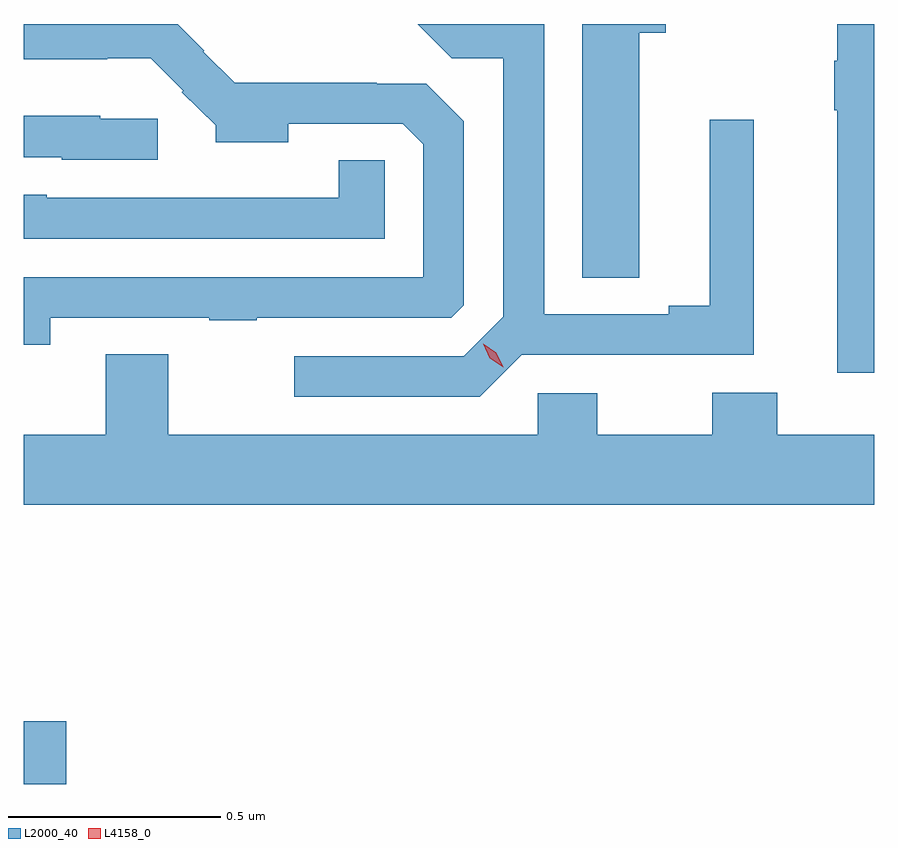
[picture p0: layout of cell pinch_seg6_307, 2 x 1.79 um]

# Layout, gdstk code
import gdstk
lib = gdstk.Library(unit=1e-6, precision=1e-09)
def R(c, l, rs):  # rectangles x0, y0, x1, y1
    for r in rs: c.add(gdstk.rectangle(r[:2], r[2:], *l))
def P(c, l, *ps):  # polygons
    for p in ps: c.add(gdstk.Polygon(p, *l))
L2000_40 = (2000, 40)
L4158_0 = (4158, 0)

pinch_seg6_307 = lib.new_cell('pinch_seg6_307')
R(pinch_seg6_307, L2000_40, [(790.785,969.323,790.885,969.47)])
P(pinch_seg6_307, L2000_40, [(791.956,970.332),(792.502,970.332),(792.502,970.885),(792.398,970.885),(792.398,970.448),(792.302,970.448),(792.302,970.428),(792.009,970.428),(792.009,971.11),(791.711,971.11),(791.792,971.029),(791.913,971.029),(791.913,970.422),(791.82,970.329),(791.421,970.329),(791.421,970.233),(791.857,970.233)],
  [(792.232,971.089),(792.295,971.089),(792.295,971.11),(792.098,971.11),(792.098,970.513),(792.232,970.513)],
  [(792.785,971.11),(792.698,971.11),(792.698,971.024),(792.691,971.024),(792.691,970.907),(792.698,970.907),(792.698,970.29),(792.785,970.29)],
  [(790.848,970.419),(791.221,970.419),(791.221,970.414),(791.333,970.414),(791.333,970.419),(791.79,970.419),(791.82,970.449),(791.82,970.881),(791.731,970.97),(791.615,970.97),(791.615,970.972),(791.281,970.972),(791.207,971.045),(791.209,971.047),(791.147,971.11),(790.785,971.11),(790.785,971.027),(790.982,971.027),(790.982,971.03),(791.084,971.03),(791.16,970.953),(791.157,970.95),(791.236,970.872),(791.236,970.832),(791.407,970.832),(791.407,970.875),(791.676,970.875),(791.724,970.827),(791.724,970.515),(790.785,970.515),(790.785,970.356),(790.848,970.356)],
  [(791.1,970.887),(790.965,970.887),(790.965,970.894),(790.785,970.894),(790.785,970.797),(790.875,970.797),(790.875,970.791),(791.1,970.791)],
  [(791.634,970.79),(791.526,970.79),(791.526,970.702),(791.271,970.702),(791.271,970.701),(790.839,970.701),(790.839,970.708),(790.785,970.708),(790.785,970.605),(791.634,970.605)],
  [(792.785,970.144),(792.557,970.144),(792.557,970.243),(792.404,970.243),(792.404,970.144),(792.133,970.144),(792.133,970.242),(791.994,970.242),(791.994,970.144),(791.125,970.144),(791.125,970.334),(790.978,970.334),(790.978,970.144),(790.785,970.144),(790.785,969.98),(792.785,969.98)])
P(pinch_seg6_307, L4158_0, [(791.912,970.303),(791.881,970.324),(791.865,970.358),(791.865,970.358),(791.865,970.358),(791.896,970.337),(791.912,970.303),(791.912,970.303)])

lib.write_gds('pinch_seg6_307.gds')
